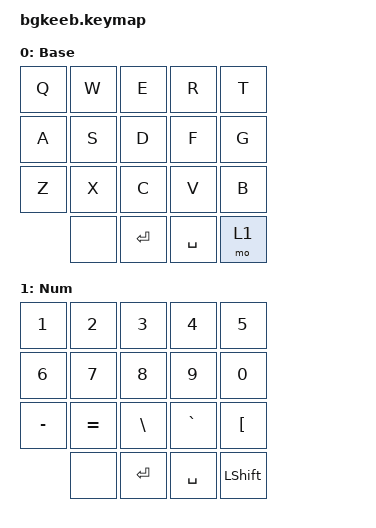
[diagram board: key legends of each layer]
#include <behaviors.dtsi>
#include <dt-bindings/zmk/keys.h>

/ {
    keymap {
        compatible = "zmk,keymap";

        // Layer 0: QWERTY base (recovery sin ZMK Studio)
        base {
            label = "Base";
            bindings = <
                &kp Q     &kp W     &kp E     &kp R     &kp T
                &kp A     &kp S     &kp D     &kp F     &kp G
                &kp Z     &kp X     &kp C     &kp V     &kp B
                          &none     &kp ENTER &kp SPACE &mo 1
            >;
        };

        // Layer 1: Números y símbolos (mantener thumb derecho)
        num {
            label = "Num";
            bindings = <
                &kp N1    &kp N2    &kp N3    &kp N4    &kp N5
                &kp N6    &kp N7    &kp N8    &kp N9    &kp N0
                &kp MINUS &kp EQUAL &kp BSLH  &kp GRAVE &kp LBKT
                          &none     &kp ENTER &kp SPACE &kp LSHFT
            >;
        };
    };
};
